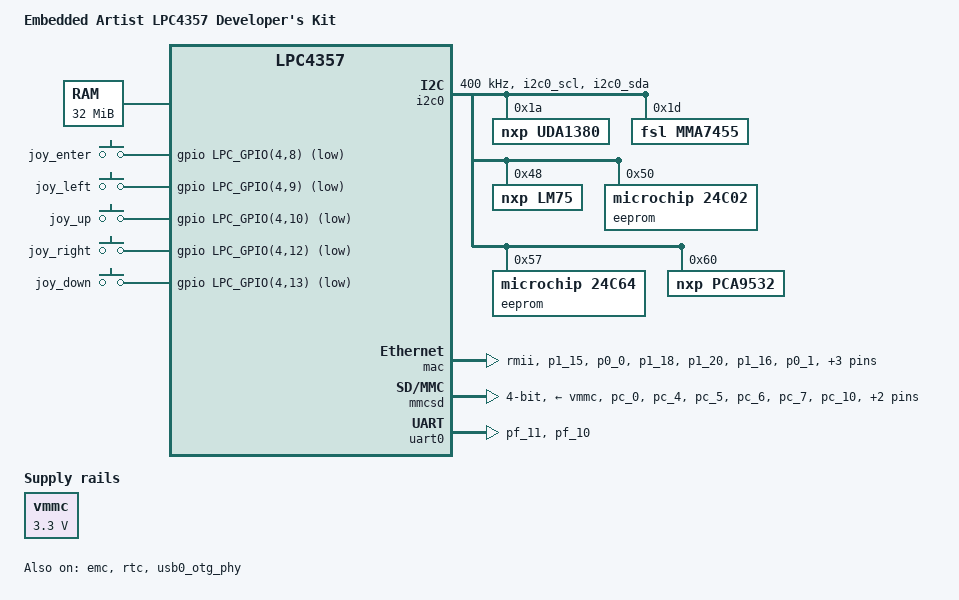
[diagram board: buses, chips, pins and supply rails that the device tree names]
/*
 * Embedded Artist LPC4357 Developer's Kit
 *
 * Copyright 2014 Joachim Eastwood <manabian@gmail.com>
 *
 * This code is released using a dual license strategy: BSD/GPL
 * You can choose the licence that better fits your requirements.
 *
 * Released under the terms of 3-clause BSD License
 * Released under the terms of GNU General Public License Version 2.0
 *
 */

/dts-v1/;
#include "lpc18xx.dtsi"
#include "lpc4357.dtsi"

#include "dt-bindings/input/input.h"
#include "dt-bindings/gpio/gpio.h"

/ {
	model = "Embedded Artist LPC4357 Developer's Kit";
	compatible = "ea,lpc4357-developers-kit", "nxp,lpc4357";

	chosen {
		bootargs = "console=ttyS0,115200 earlyprintk clk_ignore_unused initrd=0x28d00000,2M root=/dev/ram0 init=/linuxrc";
	};

	memory {
		device_type = "memory";
		reg = <0x28000000 0x2000000>; /* 32 MB */
	};

	/* vmmc is controlled by sdmmc host internally */
	vmmc: vmmc_fixed {
		compatible = "regulator-fixed";
		regulator-name = "vmmc-supply";
		regulator-min-microvolt = <3300000>;
		regulator-max-microvolt = <3300000>;
	};

	gpio_joystick {
		compatible = "gpio-keys-polled";
		pinctrl-names = "default";
		pinctrl-0 = <&gpio_joystick_pins>;
		#address-cells = <1>;
		#size-cells = <0>;
		poll-interval = <100>;
		autorepeat;

		button@0 {
			label = "joy_enter";
			linux,code = <KEY_ENTER>;
			gpios = <&gpio LPC_GPIO(4,8) GPIO_ACTIVE_LOW>;
		};

		button@1 {
			label = "joy_left";
			linux,code = <KEY_LEFT>;
			gpios = <&gpio LPC_GPIO(4,9) GPIO_ACTIVE_LOW>;
		};

		button@2 {
			label = "joy_up";
			linux,code = <KEY_UP>;
			gpios = <&gpio LPC_GPIO(4,10) GPIO_ACTIVE_LOW>;
		};

		button@3 {
			label = "joy_right";
			linux,code = <KEY_RIGHT>;
			gpios = <&gpio LPC_GPIO(4,12) GPIO_ACTIVE_LOW>;
		};

		button@4 {
			label = "joy_down";
			linux,code = <KEY_DOWN>;
			gpios = <&gpio LPC_GPIO(4,13) GPIO_ACTIVE_LOW>;
		};
	};
};

&pinctrl {
	emc_pins: emc-pins {
		emc_addr0_23_cfg {
			pins =	"p2_9",  "p2_10", "p2_11", "p2_12",
				"p2_13", "p1_0",  "p1_1",  "p1_2",
				"p2_8",  "p2_7",  "p2_6",  "p2_2",
				"p2_1",  "p2_0",  "p6_8",  "p6_7",
				"pd_16", "pd_15", "pe_0",  "pe_1",
				"pe_2",  "pe_3",  "pe_4",  "pa_4";
			function = "emc";
		};

		emc_data0_31_cfg {
			pins =	"p1_7",  "p1_8",  "p1_9",  "p1_10",
				"p1_11", "p1_12", "p1_13", "p1_14",
				"p5_4",  "p5_5",  "p5_6",  "p5_7",
				"p5_0",  "p5_1",  "p5_2",  "p5_3",
				"pd_2",  "pd_3",  "pd_4",  "pd_5",
				"pd_6",  "pd_7",  "pd_8",  "pd_9",
				"pe_5",  "pe_6",  "pe_7",  "pe_8",
				"pe_9",  "pe_10", "pe_11", "pe_12";
			function = "emc";
		};

		emc_we_oe_cfg {
			pins = "p1_6", "p1_3";
			function = "emc";
		};

		emc_bls0_1_cfg {
			pins = "p1_4", "p6_6";
			function = "emc";
		};

		emc_cs0_1_cfg {
			pins = "p1_5", "p6_3";
			function = "emc";
		};

		emc_sdram_dqm0_3_cfg {
			pins = "p6_12", "p6_10", "pd_0", "pe_13";
			function = "emc";
		};

		emc_sdram_ras_cas_cfg {
			pins = "p6_5", "p6_4";
			function = "emc";
		};

		emc_sdram_dycs0_cfg {
			pins = "p6_9";
			function = "emc";
		};

		emc_sdram_cke_cfg {
			pins = "p6_11";
			function = "emc";
		};

		emc_sdram_clock_cfg {
			pins = "clk0", "clk1", "clk2", "clk3";
			function = "emc";
		};
	};

	enet_rmii_pins: enet-rmii-pins {
		enet_rmii_rxd_cfg {
			pins = "p1_15", "p0_0";
			function = "enet";
			input-enable;
		};

		enet_rmii_txd_cfg {
			pins = "p1_18", "p1_20";
			function = "enet";
		};

		enet_rmii_rx_dv_cfg {
			pins = "p1_16";
			function = "enet";
			input-enable;
		};

		enet_rmii_tx_en_cfg {
			pins = "p0_1";
			function = "enet";
		};

		enet_ref_clk_cfg {
			pins = "p1_19";
			function = "enet";
			input-enable;
		};

		enet_mdio_cfg {
			pins = "p1_17";
			function = "enet";
			input-enable;
		};

		enet_mdc_cfg {
			pins = "pc_1";
			function = "enet";
			bias-disable;
		};
	};

	gpio_joystick_pins: gpio-joystick-pins {
		gpio_joystick_cfg {
			pins =	"p9_0", "p9_1",
				"pa_1", "pa_2", "pa_3";
			function = "gpio";
			input-enable;
			bias-disable;
		};
	};

	i2c0_pins: i2c0-pins {
		i2c0_pins_cfg {
			pins = "i2c0_scl", "i2c0_sda";
			function = "i2c0";
			input-enable;
		};
	};

	sdmmc_pins: sdmmc-pins {
		sdmmc_clk_cfg {
			pins = "pc_0";
			function = "sdmmc";
			slew-rate = <1>;
			bias-disable;
		};

		sdmmc_cmd_dat0_3_cfg {
			pins = "pc_4", "pc_5", "pc_6", "pc_7", "pc_10";
			function = "sdmmc";
			input-schmitt-disable;
			slew-rate = <1>;
			bias-disable;
			input-enable;
		};

		sdmmc_cd_cfg {
			pins = "pc_8";
			function = "sdmmc";
			bias-disable;
			input-enable;
		};

		sdmmc_pow_cfg {
			pins = "pc_9";
			function = "sdmmc";
		};
	};

	uart0_pins: uart0-pins {
		uart0_rx_cfg {
			pins = "pf_11";
			function = "uart0";
			bias-disable;
			input-enable;
		};

		uart0_tx_cfg {
			pins = "pf_10";
			function = "uart0";
			bias-disable;
		};
	};
};

&i2c0 {
	status = "okay";
	pinctrl-names = "default";
	pinctrl-0 = <&i2c0_pins>;
	clock-frequency = <400000>;

	uda1380: uda1380@1a {
		compatible = "nxp,uda1380";
		reg = <0x1a>;
	};

	mma7455@1d {
		compatible = "fsl,mma7455";
		reg = <0x1d>;

	};

	lm75@48 {
		compatible = "nxp,lm75";
		reg = <0x48>;
	};

	eeprom@50 {
		/* microchip,24aa02e48 */
		compatible = "microchip,24c02";
		reg = <0x50>;
	};

	eeprom@57 {
		compatible = "microchip,24c64";
		reg = <0x57>;
	};

	pca9532@60 {
		compatible = "nxp,pca9532";
		reg = <0x60>;
	};
};

&emc {
	status = "okay";
	pinctrl-names = "default";
	pinctrl-0 = <&emc_pins>;

	cs0 {
		#address-cells = <2>;
		#size-cells = <1>;
		ranges;

		mpmc,cs = <0>;
		mpmc,memory-width = <16>;
		mpmc,byte-lane-low;
		mpmc,write-enable-delay = <0>;
		mpmc,output-enable-delay = <0>;
		mpmc,read-enable-delay = <70>;
		mpmc,page-mode-read-delay = <70>;

		flash@0,0 {
			compatible = "sst,sst39vf320", "cfi-flash";
			reg = <0 0 0x400000>;
			bank-width = <2>;
			#address-cells = <1>;
			#size-cells = <1>;
			partition@0 {
				label = "data";
				reg = <0 0x400000>;
			};
		};
	};

	cs1 {
		#address-cells = <2>;
		#size-cells = <1>;
		ranges;

		mpmc,cs = <1>;
		mpmc,memory-width = <8>;

		/* NAND Flash K9F1G08U0D-P */
	};

	cs2 {
		#address-cells = <2>;
		#size-cells = <1>;
		ranges;

		mpmc,cs = <2>;
		mpmc,memory-width = <16>;

		/* 74LVC16374ADGG - MMIO LEDs */
	};
};

&enet_tx_clk {
	clock-frequency = <25000000>;
};

&mac {
	status = "okay";
	phy-mode = "rmii";
	pinctrl-names = "default";
	pinctrl-0 = <&enet_rmii_pins>;
};

&mmcsd {
	status = "okay";
	bus-width = <4>;
	vmmc-supply = <&vmmc>;
	pinctrl-names = "default";
	pinctrl-0 = <&sdmmc_pins>;
};

&rtc {
	status = "okay";
};

&uart0 {
	status = "okay";
	pinctrl-names = "default";
	pinctrl-0 = <&uart0_pins>;
};

&usb0_otg_phy {
	status = "okay";
};

&usb0 {
	status = "disabled";
};
